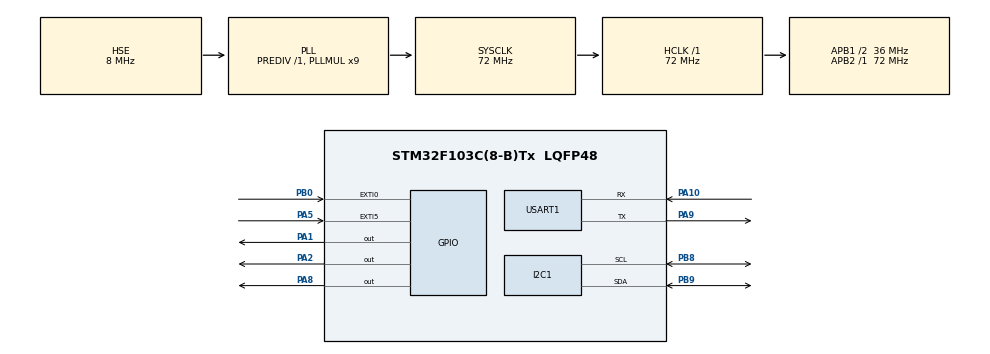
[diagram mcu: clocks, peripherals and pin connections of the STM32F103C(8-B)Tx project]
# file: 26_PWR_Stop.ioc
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Dma.Request0=USART1_RX
Dma.USART1_RX.0.Direction=DMA_PERIPH_TO_MEMORY
Dma.USART1_RX.0.Instance=DMA1_Channel5
Dma.USART1_RX.0.MemDataAlignment=DMA_MDATAALIGN_BYTE
Dma.USART1_RX.0.MemInc=DMA_MINC_ENABLE
Dma.USART1_RX.0.Mode=DMA_CIRCULAR
Dma.USART1_RX.0.PeriphDataAlignment=DMA_PDATAALIGN_BYTE
Dma.USART1_RX.0.PeriphInc=DMA_PINC_DISABLE
Dma.USART1_RX.0.Priority=DMA_PRIORITY_LOW
Mcu.Family=STM32F1
Mcu.Name=STM32F103C(8-B)Tx
Mcu.Package=LQFP48
NVIC.DMA1_Channel5_IRQn=true\:0\:0\:false\:false\:true\:false\:true\:true
NVIC.EXTI0_IRQn=true\:0\:0\:false\:false\:true\:true\:true\:true
NVIC.EXTI9_5_IRQn=true\:0\:0\:false\:false\:true\:true\:true\:true
NVIC.PriorityGroup=NVIC_PRIORITYGROUP_4
NVIC.USART1_IRQn=true\:0\:0\:false\:false\:true\:true\:true\:true
PA1.Signal=GPIO_Output
PA10.GPIO_PuPd=GPIO_PULLUP
PA10.Mode=Asynchronous
PA10.Signal=USART1_RX
PA13.Mode=Serial_Wire
PA13.Signal=SYS_JTMS-SWDIO
PA14.Mode=Serial_Wire
PA14.Signal=SYS_JTCK-SWCLK
PA2.Signal=GPIO_Output
PA5.GPIO_ModeDefaultEXTI=GPIO_MODE_IT_FALLING
PA5.GPIO_PuPd=GPIO_PULLUP
PA5.Signal=GPXTI5
PA8.GPIO_ModeDefaultOutputPP=GPIO_MODE_OUTPUT_OD
PA8.GPIO_PuPd=GPIO_NOPULL
PA8.PinState=GPIO_PIN_SET
PA8.Signal=GPIO_Output
PA9.Mode=Asynchronous
PA9.Signal=USART1_TX
PB0.GPIO_ModeDefaultEXTI=GPIO_MODE_IT_FALLING
PB0.GPIO_PuPd=GPIO_PULLUP
PB0.Signal=GPXTI0
PB8.Mode=I2C
PB8.Signal=I2C1_SCL
PB9.Mode=I2C
PB9.Signal=I2C1_SDA
PD0-OSC_IN.Mode=HSE-External-Oscillator
PD0-OSC_IN.Signal=RCC_OSC_IN
PD1-OSC_OUT.Mode=HSE-External-Oscillator
PD1-OSC_OUT.Signal=RCC_OSC_OUT
ProjectManager.HeapSize=0x200
ProjectManager.StackSize=0x400
ProjectManager.TargetToolchain=STM32CubeIDE
RCC.AHBFreq_Value=72000000
RCC.APB1CLKDivider=RCC_HCLK_DIV2
RCC.APB1Freq_Value=36000000
RCC.APB1TimFreq_Value=72000000
RCC.APB2Freq_Value=72000000
RCC.APB2TimFreq_Value=72000000
RCC.HCLKFreq_Value=72000000
RCC.PLLMUL=RCC_PLL_MUL9
RCC.PLLSourceVirtual=RCC_PLLSOURCE_HSE
RCC.SYSCLKFreq_VALUE=72000000
RCC.SYSCLKSource=RCC_SYSCLKSOURCE_PLLCLK
RCC.USBFreq_Value=72000000
RTC.Date=7
RTC.Month=RTC_MONTH_FEBRUARY
RTC.WeekDay=RTC_WEEKDAY_SATURDAY
RTC.Year=25
USART1.VirtualMode=VM_ASYNC
VP_RTC_No_RTC_Output.Mode=RTC_OUT_NO
VP_RTC_VS_RTC_Activate.Mode=RTC_Enabled
VP_RTC_VS_RTC_Calendar.Mode=RTC_Calendar
board=custom

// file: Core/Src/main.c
/* USER CODE BEGIN Header */
/**
  ******************************************************************************
  * @file           : main.c
  * @brief          : Main program body
  ******************************************************************************
  * @attention
  *
  * Copyright (c) 2025 STMicroelectronics.
  * All rights reserved.
  *
  * This software is licensed under terms that can be found in the LICENSE file
  * in the root directory of this software component.
  * If no LICENSE file comes with this software, it is provided AS-IS.
  *
  ******************************************************************************
  */
/* USER CODE END Header */
#include "main.h"
#include "dma.h"
#include "i2c.h"
#include "rtc.h"
#include "usart.h"
#include "gpio.h"

/* USER CODE BEGIN Includes */
#include "oled.h"
/* USER CODE END Includes */

/* USER CODE BEGIN PV */
uint8_t RX1_Buffer[DMA_BUF_SIZE] = { 0 };
uint8_t RX1_OffSet = 0;

uint8_t Key_Value = 0;
/* USER CODE END PV */

void SystemClock_Config(void);

int main(void)
{

  /* MCU Configuration--------------------------------------------------------*/

  /* Reset of all peripherals, Initializes the Flash interface and the Systick. */
  HAL_Init();

  /* Configure the system clock */
  SystemClock_Config();

  /* Initialize all configured peripherals */
  MX_GPIO_Init();
  MX_DMA_Init();
  MX_USART1_UART_Init();
  MX_I2C1_Init();
  MX_RTC_Init();
  /* USER CODE BEGIN 2 */
  //HAL_UART_Receive_IT(&huart1, RX1_Buffer, 4);
  //HAL_UART_Receive_DMA(&huart1, RX1_Buffer, 1);
  __HAL_UART_ENABLE_IT(&huart1, UART_IT_IDLE);
  HAL_UART_Receive_DMA(&huart1, RX1_Buffer, DMA_BUF_SIZE);
  printf("The system has been initialized!\n");
  OLED_Init();
  printf("The OLED has been initialized!\n");
  //OLED_Test();
  //printf("The IWDG has been initialized!\n");
  printf("The WWDG has been initialized!\n");
  printf("The PWR sleep has been initialized!\n");
  /* USER CODE END 2 */

  /* Infinite loop */
  /* USER CODE BEGIN WHILE */
  while (1)
  {
	  //IWDG_Test();
	  //printf("HELLO WORLD!\n");
	  //HAL_Delay(1000);
	  //RTC_Test();
    /* USER CODE END WHILE */

    /* USER CODE BEGIN 3 */
	  printf("The system is running!\n");
	  LED_Control(LED1, ON);
	  HAL_Delay(2000);
	  LED_Control(LED1, OFF);

	  LED_Control(LED2, ON);
	  HAL_SuspendTick();
	  printf("The system is sleeping!\n");
	  HAL_PWR_EnterSTOPMode(PWR_MAINREGULATOR_ON, PWR_SLEEPENTRY_WFI);

	  SystemClock_Config();
	  LED_Control(LED2, OFF);
	  HAL_ResumeTick();
	  printf("The system is awakened!\n");

	  uint32_t SYSCLK_Frequency = HAL_RCC_GetSysClockFreq();
	  uint32_t HCLK_Frequency = HAL_RCC_GetHCLKFreq();
	  uint32_t PCLK1_Frequency = HAL_RCC_GetPCLK1Freq();
	  uint32_t PCLK2_Frequency = HAL_RCC_GetPCLK2Freq();
	  uint32_t SYSCLK_Source = __HAL_RCC_GET_SYSCLK_SOURCE();
	  printf("SYSCLK:%ld, \nHCLK:%ld, \nPCLK1:%ld, \nPCLK2:%ld, \nSource:%ld (0 HSI, 8 PLLCLK)\n", SYSCLK_Frequency, HCLK_Frequency, PCLK1_Frequency, PCLK2_Frequency, SYSCLK_Source);
  }
  /* USER CODE END 3 */
}

void SystemClock_Config(void)
{
  RCC_OscInitTypeDef RCC_OscInitStruct = {0};
  RCC_ClkInitTypeDef RCC_ClkInitStruct = {0};
  RCC_PeriphCLKInitTypeDef PeriphClkInit = {0};

  /** Initializes the RCC Oscillators according to the specified parameters
  * in the RCC_OscInitTypeDef structure.
  */
  RCC_OscInitStruct.OscillatorType = RCC_OSCILLATORTYPE_LSI|RCC_OSCILLATORTYPE_HSE;
  RCC_OscInitStruct.HSEState = RCC_HSE_ON;
  RCC_OscInitStruct.HSEPredivValue = RCC_HSE_PREDIV_DIV1;
  RCC_OscInitStruct.HSIState = RCC_HSI_ON;
  RCC_OscInitStruct.LSIState = RCC_LSI_ON;
  RCC_OscInitStruct.PLL.PLLState = RCC_PLL_ON;
  RCC_OscInitStruct.PLL.PLLSource = RCC_PLLSOURCE_HSE;
  RCC_OscInitStruct.PLL.PLLMUL = RCC_PLL_MUL9;
  if (HAL_RCC_OscConfig(&RCC_OscInitStruct) != HAL_OK)
  {
    Error_Handler();
  }

  /** Initializes the CPU, AHB and APB buses clocks
  */
  RCC_ClkInitStruct.ClockType = RCC_CLOCKTYPE_HCLK|RCC_CLOCKTYPE_SYSCLK
                              |RCC_CLOCKTYPE_PCLK1|RCC_CLOCKTYPE_PCLK2;
  RCC_ClkInitStruct.SYSCLKSource = RCC_SYSCLKSOURCE_PLLCLK;
  RCC_ClkInitStruct.AHBCLKDivider = RCC_SYSCLK_DIV1;
  RCC_ClkInitStruct.APB1CLKDivider = RCC_HCLK_DIV2;
  RCC_ClkInitStruct.APB2CLKDivider = RCC_HCLK_DIV1;

  if (HAL_RCC_ClockConfig(&RCC_ClkInitStruct, FLASH_LATENCY_2) != HAL_OK)
  {
    Error_Handler();
  }
  PeriphClkInit.PeriphClockSelection = RCC_PERIPHCLK_RTC;
  PeriphClkInit.RTCClockSelection = RCC_RTCCLKSOURCE_LSI;
  if (HAL_RCCEx_PeriphCLKConfig(&PeriphClkInit) != HAL_OK)
  {
    Error_Handler();
  }
}

void Error_Handler(void)
{
  __disable_irq();
  while (1)
  {
  }
}
